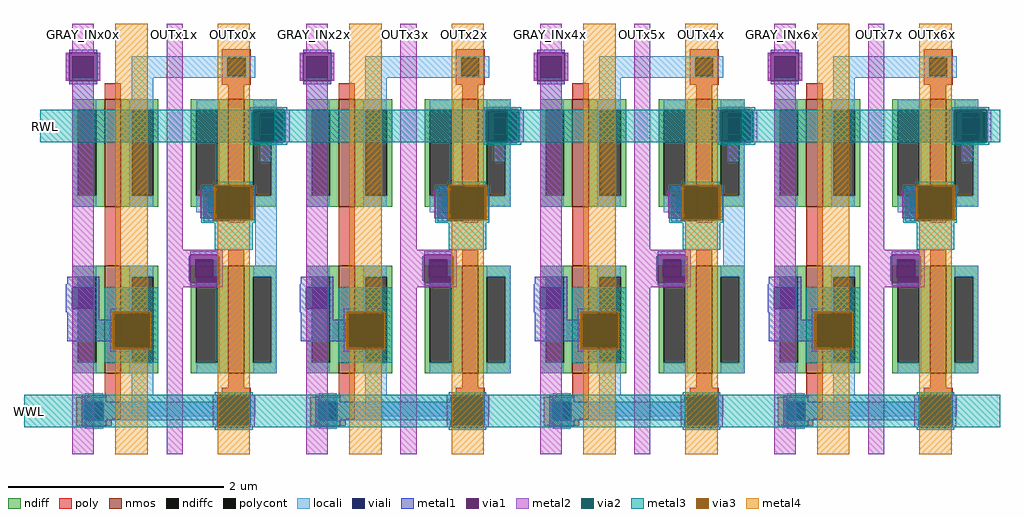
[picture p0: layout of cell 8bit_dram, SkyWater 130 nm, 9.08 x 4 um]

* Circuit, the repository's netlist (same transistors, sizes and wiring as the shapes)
* SPICE3 file created from 8bit_dram.ext - technology: sky130B

.subckt dram_cell WWL WBL RWL RBL VSUBS
X0 RWL storage RBL VSUBS sky130_fd_pr__nfet_01v8 ad=3e+11p pd=2.6e+06u as=3.5e+11p ps=2.7e+06u w=1e+06u l=150000u
X1 storage WWL WBL VSUBS sky130_fd_pr__nfet_01v8 ad=3.5e+11p pd=2.7e+06u as=3e+11p ps=2.6e+06u w=1e+06u l=150000u
.ends

.subckt dram_array dram_cell_1/WWL dram_cell_1/RWL VSUBS dram_cell_0/RWL
Xdram_cell_0 dram_cell_1/WWL dram_cell_0/WBL dram_cell_0/RWL dram_cell_0/RBL VSUBS
+ dram_cell
Xdram_cell_1 dram_cell_1/WWL dram_cell_1/WBL dram_cell_1/RWL dram_cell_1/RBL VSUBS
+ dram_cell
.ends

.subckt x4bit_dram dram_array_1/dram_cell_0/RWL dram_array_1/dram_cell_1/WWL VSUBS
Xdram_array_0 dram_array_1/dram_cell_1/WWL dram_array_1/dram_cell_0/RWL VSUBS dram_array_1/dram_cell_0/RWL
+ dram_array
Xdram_array_1 dram_array_1/dram_cell_1/WWL dram_array_1/dram_cell_1/RWL VSUBS dram_array_1/dram_cell_0/RWL
+ dram_array
.ends

.subckt x8bit_dram
X4bit_dram_1 4bit_dram_1/dram_array_1/dram_cell_0/RWL 4bit_dram_1/dram_array_1/dram_cell_1/WWL
+ VSUBS x4bit_dram
X4bit_dram_0 4bit_dram_1/dram_array_1/dram_cell_0/RWL 4bit_dram_1/dram_array_1/dram_cell_1/WWL
+ VSUBS x4bit_dram
.ends

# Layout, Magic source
magic
tech sky130B
magscale 1 2
use 4bit_dram  4bit_dram_0
transform 1 0 -10 0 1 -110
box -60 90 885 890
use 4bit_dram  4bit_dram_1
transform 1 0 860 0 1 -110
box -60 90 885 890
<< labels >>
rlabel space 320 760 320 760 1 OUTx0x
port 2 n
rlabel space 210 760 210 760 1 OUTx1x
port 4 n
rlabel space 640 760 640 760 1 OUTx3x
port 7 n
rlabel space 750 760 750 760 1 OUTx2x
port 8 n
rlabel space 1080 760 1080 760 1 OUTx5x
port 11 n
rlabel space 1190 760 1190 760 1 OUTx4x
port 12 n
rlabel space 1520 760 1520 760 1 OUTx7x
port 15 n
rlabel space 1620 760 1620 760 1 OUTx6x
port 16 n
rlabel space -60 60 -60 60 1 WWL
port 17 n
rlabel space -30 590 -30 590 1 RWL
port 18 n
rlabel space 40 760 40 760 1 GRAY_INx0x
port 19 n
rlabel space 130 760 130 760 1 GRAY_INx1x
port 20 n
rlabel space 470 760 470 760 1 GRAY_INx2x
port 21 n
rlabel space 550 760 550 760 1 GRAY_INx3x
port 22 n
rlabel space 910 760 910 760 1 GRAY_INx4x
port 23 n
rlabel space 1000 760 1000 760 1 GRAY_INx5x
port 24 n
rlabel space 1340 760 1340 760 1 GRAY_INx6x
port 25 n
rlabel space 1430 760 1430 760 1 GRAY_INx7x
port 26 n
<< end >>

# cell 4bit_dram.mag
magic
tech sky130B
magscale 1 2
<< locali >>
rect 370 440 410 550
use dram_array  dram_array_0
transform 1 0 30 0 1 520
box -90 -430 420 370
use dram_array  dram_array_1
transform 1 0 465 0 1 520
box -90 -430 420 370
<< end >>

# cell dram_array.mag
magic
tech sky130B
magscale 1 2
<< poly >>
rect 60 -65 90 30
rect 60 -323 90 -280
rect 7 -333 90 -323
rect 7 -367 23 -333
rect 57 -365 90 -333
rect 57 -367 73 -365
rect 7 -377 73 -367
<< polycont >>
rect 23 -367 57 -333
<< locali >>
rect 0 210 40 270
rect 350 197 380 230
rect 350 115 380 163
rect 230 20 253 50
rect 0 -120 40 -80
rect 0 -280 40 -260
rect 23 -333 57 -317
rect 23 -383 57 -367
<< viali >>
rect 0 270 40 310
rect 348 163 382 197
rect 253 18 287 52
rect 228 -102 262 -68
rect 0 -160 40 -120
rect 23 -367 57 -333
<< metal1 >>
rect -6 316 46 322
rect -12 264 -6 316
rect 46 264 52 316
rect -6 258 46 264
rect 342 206 388 209
rect 333 154 339 206
rect 391 154 397 206
rect 342 151 388 154
rect 244 61 296 67
rect 244 3 296 9
rect 219 -59 271 -53
rect -10 -114 50 -100
rect 216 -108 219 -62
rect -12 -120 50 -114
rect 271 -108 274 -62
rect 219 -117 271 -111
rect -12 -160 0 -120
rect 40 -160 50 -120
rect -12 -166 50 -160
rect -10 -180 50 -166
rect 78 -180 84 -174
rect -10 -220 84 -180
rect 78 -226 84 -220
rect 136 -226 142 -174
rect 17 -333 63 -321
rect 268 -333 274 -324
rect 17 -367 23 -333
rect 57 -367 274 -333
rect 17 -379 63 -367
rect 268 -376 274 -367
rect 326 -376 332 -324
<< via1 >>
rect -6 310 46 316
rect -6 270 0 310
rect 0 270 40 310
rect 40 270 46 310
rect -6 264 46 270
rect 339 197 391 206
rect 339 163 348 197
rect 348 163 382 197
rect 382 163 391 197
rect 339 154 391 163
rect 244 52 296 61
rect 244 18 253 52
rect 253 18 287 52
rect 287 18 296 52
rect 244 9 296 18
rect 219 -68 271 -59
rect 219 -102 228 -68
rect 228 -102 262 -68
rect 262 -102 271 -68
rect 219 -111 271 -102
rect 84 -226 136 -174
rect 274 -376 326 -324
<< metal2 >>
rect 0 316 40 370
rect -12 264 -6 316
rect 46 264 52 316
rect 0 -430 40 264
rect 175 -50 205 370
rect 339 210 391 212
rect 326 150 335 210
rect 395 150 404 210
rect 339 148 391 150
rect 261 61 270 65
rect 238 9 244 61
rect 261 5 270 9
rect 330 5 339 65
rect 175 -59 280 -50
rect 175 -111 219 -59
rect 271 -111 280 -59
rect 175 -120 280 -111
rect 70 -170 140 -160
rect 70 -230 80 -170
rect 70 -240 140 -230
rect 175 -430 205 -120
rect 274 -320 326 -318
rect 261 -380 270 -320
rect 330 -380 339 -320
rect 274 -382 326 -380
<< via2 >>
rect 335 206 395 210
rect 335 154 339 206
rect 339 154 391 206
rect 391 154 395 206
rect 335 150 395 154
rect 270 61 330 65
rect 270 9 296 61
rect 296 9 330 61
rect 270 5 330 9
rect 80 -174 140 -170
rect 80 -226 84 -174
rect 84 -226 136 -174
rect 136 -226 140 -174
rect 80 -230 140 -226
rect 270 -324 330 -320
rect 270 -376 274 -324
rect 274 -376 326 -324
rect 326 -376 330 -324
rect 270 -380 330 -376
<< metal3 >>
rect 330 210 400 215
rect -60 150 335 210
rect 395 150 420 210
rect 330 145 400 150
rect 265 70 335 76
rect 240 6 265 70
rect 335 6 340 70
rect 240 5 270 6
rect 330 5 340 6
rect 240 0 340 5
rect 265 -50 335 0
rect 60 -165 160 -120
rect 60 -235 75 -165
rect 145 -235 160 -165
rect 60 -260 160 -235
rect 265 -320 335 -315
rect -90 -380 270 -320
rect 330 -380 420 -320
rect 265 -385 335 -380
<< via3 >>
rect 265 65 335 70
rect 265 6 270 65
rect 270 6 330 65
rect 330 6 335 65
rect 75 -170 145 -165
rect 75 -230 80 -170
rect 80 -230 140 -170
rect 140 -230 145 -170
rect 75 -235 145 -230
<< metal4 >>
rect 80 -164 140 370
rect 270 71 330 370
rect 264 70 336 71
rect 264 6 265 70
rect 335 6 336 70
rect 264 5 336 6
rect 74 -165 146 -164
rect 74 -235 75 -165
rect 145 -235 146 -165
rect 74 -236 146 -235
rect 80 -430 140 -236
rect 270 -430 330 5
use dram_cell  dram_cell_0
transform 1 0 40 0 1 100
box -40 -100 340 223
use dram_cell  dram_cell_1
transform 1 0 40 0 -1 -150
box -40 -100 340 223
<< labels >>
rlabel space 60 -340 90 55 3 TEST
port 8 e
rlabel space 60 -375 90 30 3 test
<< end >>

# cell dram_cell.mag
magic
tech sky130B
magscale 1 2
<< nmos >>
rect 20 -70 50 130
rect 250 -70 280 130
<< ndiff >>
rect -40 110 20 130
rect -40 -50 -30 110
rect 4 -50 20 110
rect -40 -70 20 -50
rect 50 110 120 130
rect 50 -50 70 110
rect 110 -50 120 110
rect 50 -70 120 -50
rect 180 110 250 130
rect 180 -50 190 110
rect 230 -50 250 110
rect 180 -70 250 -50
rect 280 110 340 130
rect 280 -50 296 110
rect 330 -50 340 110
rect 280 -70 340 -50
<< ndiffc >>
rect -30 -50 4 110
rect 70 -50 110 110
rect 190 -50 230 110
rect 296 -50 330 110
<< poly >>
rect 238 207 292 223
rect 238 173 248 207
rect 282 173 292 207
rect 20 130 50 160
rect 238 157 292 173
rect 250 130 280 157
rect 20 -100 50 -70
rect 250 -100 280 -70
<< polycont >>
rect 248 173 282 207
<< locali >>
rect 70 207 300 210
rect 70 173 248 207
rect 282 173 300 207
rect 70 170 300 173
rect 70 130 110 170
rect -40 110 4 130
rect -40 -50 -30 110
rect -40 -70 4 -50
rect 66 110 110 130
rect 66 -50 70 110
rect 66 -70 110 -50
rect 190 110 234 130
rect 230 -50 234 110
rect 190 -70 234 -50
rect 296 110 340 130
rect 330 -50 340 110
rect 296 -70 340 -50
rect 190 -80 230 -70
<< labels >>
rlabel poly 33 154 33 154 1 WWL
port 1 n
rlabel locali -37 119 -37 119 3 WBL
port 2 e
rlabel locali 322 -60 322 -60 1 RWL
port 3 n
rlabel locali 216 -74 216 -74 1 RBL
port 4 n
rlabel locali 132 186 132 186 1 storage
<< end >>
